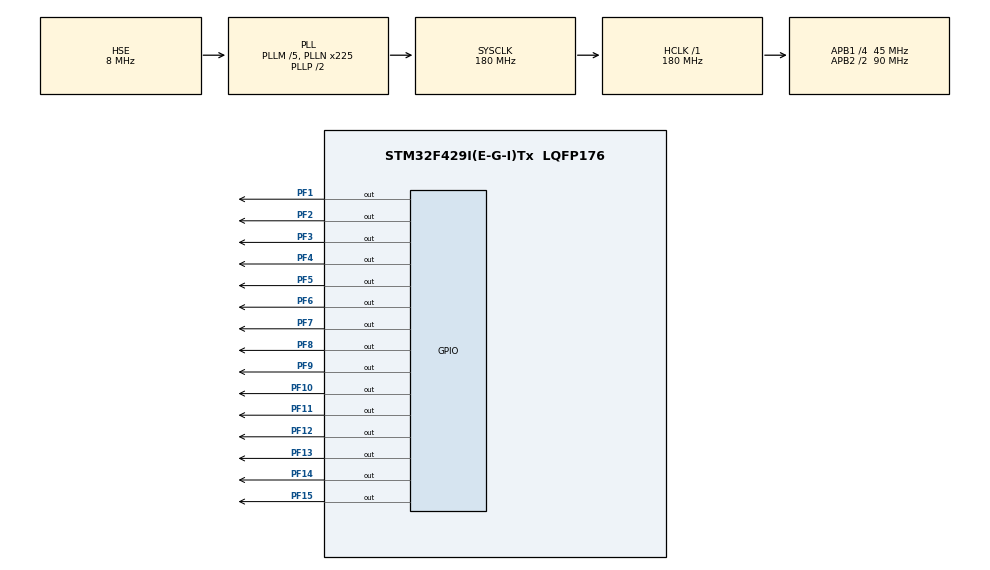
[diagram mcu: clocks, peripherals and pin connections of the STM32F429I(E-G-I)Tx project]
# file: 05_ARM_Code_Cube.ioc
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Mcu.Family=STM32F4
Mcu.Name=STM32F429I(E-G-I)Tx
Mcu.Package=LQFP176
NVIC.PriorityGroup=NVIC_PRIORITYGROUP_4
PF1.GPIO_ModeDefaultOutputPP=GPIO_MODE_OUTPUT_PP
PF1.GPIO_PuPd=GPIO_NOPULL
PF1.GPIO_Speed=GPIO_SPEED_LOW
PF1.Signal=GPIO_Output
PF10.GPIO_ModeDefaultOutputPP=GPIO_MODE_OUTPUT_PP
PF10.GPIO_PuPd=GPIO_NOPULL
PF10.GPIO_Speed=GPIO_SPEED_LOW
PF10.Signal=GPIO_Output
PF11.GPIO_ModeDefaultOutputPP=GPIO_MODE_OUTPUT_PP
PF11.GPIO_PuPd=GPIO_NOPULL
PF11.GPIO_Speed=GPIO_SPEED_LOW
PF11.Signal=GPIO_Output
PF12.GPIO_ModeDefaultOutputPP=GPIO_MODE_OUTPUT_PP
PF12.GPIO_PuPd=GPIO_NOPULL
PF12.GPIO_Speed=GPIO_SPEED_LOW
PF12.Signal=GPIO_Output
PF13.GPIO_ModeDefaultOutputPP=GPIO_MODE_OUTPUT_PP
PF13.GPIO_PuPd=GPIO_NOPULL
PF13.GPIO_Speed=GPIO_SPEED_LOW
PF13.Signal=GPIO_Output
PF14.GPIO_ModeDefaultOutputPP=GPIO_MODE_OUTPUT_PP
PF14.GPIO_PuPd=GPIO_NOPULL
PF14.GPIO_Speed=GPIO_SPEED_LOW
PF14.Signal=GPIO_Output
PF15.GPIO_ModeDefaultOutputPP=GPIO_MODE_OUTPUT_PP
PF15.GPIO_PuPd=GPIO_NOPULL
PF15.GPIO_Speed=GPIO_SPEED_LOW
PF15.Signal=GPIO_Output
PF2.GPIO_ModeDefaultOutputPP=GPIO_MODE_OUTPUT_PP
PF2.GPIO_PuPd=GPIO_NOPULL
PF2.GPIO_Speed=GPIO_SPEED_LOW
PF2.Signal=GPIO_Output
PF3.GPIO_ModeDefaultOutputPP=GPIO_MODE_OUTPUT_PP
PF3.GPIO_PuPd=GPIO_NOPULL
PF3.GPIO_Speed=GPIO_SPEED_LOW
PF3.Signal=GPIO_Output
PF4.GPIO_ModeDefaultOutputPP=GPIO_MODE_OUTPUT_PP
PF4.GPIO_PuPd=GPIO_NOPULL
PF4.GPIO_Speed=GPIO_SPEED_LOW
PF4.Signal=GPIO_Output
PF5.GPIO_ModeDefaultOutputPP=GPIO_MODE_OUTPUT_PP
PF5.GPIO_PuPd=GPIO_NOPULL
PF5.GPIO_Speed=GPIO_SPEED_LOW
PF5.Signal=GPIO_Output
PF6.GPIO_ModeDefaultOutputPP=GPIO_MODE_OUTPUT_PP
PF6.GPIO_PuPd=GPIO_NOPULL
PF6.GPIO_Speed=GPIO_SPEED_LOW
PF6.Signal=GPIO_Output
PF7.GPIO_ModeDefaultOutputPP=GPIO_MODE_OUTPUT_PP
PF7.GPIO_PuPd=GPIO_NOPULL
PF7.GPIO_Speed=GPIO_SPEED_LOW
PF7.Signal=GPIO_Output
PF8.GPIO_ModeDefaultOutputPP=GPIO_MODE_OUTPUT_PP
PF8.GPIO_PuPd=GPIO_NOPULL
PF8.GPIO_Speed=GPIO_SPEED_LOW
PF8.Signal=GPIO_Output
PF9.GPIO_ModeDefaultOutputPP=GPIO_MODE_OUTPUT_PP
PF9.GPIO_PuPd=GPIO_NOPULL
PF9.GPIO_Speed=GPIO_SPEED_LOW
PF9.Signal=GPIO_Output
PH0/OSC_IN.Mode=HSE-External-Oscillator
PH0/OSC_IN.Signal=RCC_OSC_IN
PH1/OSC_OUT.Mode=HSE-External-Oscillator
PH1/OSC_OUT.Signal=RCC_OSC_OUT
ProjectManager.TargetToolchain=EWARM
RCC.48MHZClocksFreq_Value=90000000
RCC.AHBFreq_Value=180000000
RCC.APB1CLKDivider=RCC_HCLK_DIV4
RCC.APB1Freq_Value=45000000
RCC.APB1TimFreq_Value=90000000
RCC.APB2CLKDivider=RCC_HCLK_DIV2
RCC.APB2Freq_Value=90000000
RCC.APB2TimFreq_Value=180000000
RCC.CortexFreq_Value=180000000
RCC.HCLKFreq_Value=180000000
RCC.HSE_VALUE=8000000
RCC.HSI_VALUE=16000000
RCC.LSE_VALUE=32768
RCC.PLLM=5
RCC.PLLN=225
RCC.PLLSourceVirtual=RCC_PLLSOURCE_HSE
RCC.SYSCLKFreq_VALUE=180000000
RCC.SYSCLKSource=RCC_SYSCLKSOURCE_PLLCLK
RCC.VCOOutputFreq_Value=360000000
board=05_ARM_Code_Cube

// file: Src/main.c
/**
  ******************************************************************************
  * File Name          : main.c
  * Description        : Main program body
  ******************************************************************************
  *
  * COPYRIGHT(c) 2015 STMicroelectronics
  *
  * Redistribution and use in source and binary forms, with or without modification,
  * are permitted provided that the following conditions are met:
  *   1. Redistributions of source code must retain the above copyright notice,
  *      this list of conditions and the following disclaimer.
  *   2. Redistributions in binary form must reproduce the above copyright notice,
  *      this list of conditions and the following disclaimer in the documentation
  *      and/or other materials provided with the distribution.
  *   3. Neither the name of STMicroelectronics nor the names of its contributors
  *      may be used to endorse or promote products derived from this software
  *      without specific prior written permission.
  *
  * THIS SOFTWARE IS PROVIDED BY THE COPYRIGHT HOLDERS AND CONTRIBUTORS "AS IS"
  * AND ANY EXPRESS OR IMPLIED WARRANTIES, INCLUDING, BUT NOT LIMITED TO, THE
  * IMPLIED WARRANTIES OF MERCHANTABILITY AND FITNESS FOR A PARTICULAR PURPOSE ARE
  * DISCLAIMED. IN NO EVENT SHALL THE COPYRIGHT HOLDER OR CONTRIBUTORS BE LIABLE
  * FOR ANY DIRECT, INDIRECT, INCIDENTAL, SPECIAL, EXEMPLARY, OR CONSEQUENTIAL
  * DAMAGES (INCLUDING, BUT NOT LIMITED TO, PROCUREMENT OF SUBSTITUTE GOODS OR
  * SERVICES; LOSS OF USE, DATA, OR PROFITS; OR BUSINESS INTERRUPTION) HOWEVER
  * CAUSED AND ON ANY THEORY OF LIABILITY, WHETHER IN CONTRACT, STRICT LIABILITY,
  * OR TORT (INCLUDING NEGLIGENCE OR OTHERWISE) ARISING IN ANY WAY OUT OF THE USE
  * OF THIS SOFTWARE, EVEN IF ADVISED OF THE POSSIBILITY OF SUCH DAMAGE.
  *
  ******************************************************************************
  */
#include "stm32f4xx_hal.h"

/* USER CODE BEGIN PV */
/* Private variables ---------------------------------------------------------*/

/* USER CODE END PV */

void SystemClock_Config(void);
static void MX_GPIO_Init(void);

/* USER CODE BEGIN PFP */
/* Private function prototypes -----------------------------------------------*/

/* USER CODE END PFP */

/* USER CODE BEGIN 0 */

static volatile uint32_t TimingDelay;

void TimingDelay_Decrement(void)
{
  if(TimingDelay != 0x00)
  {
    TimingDelay--;
  }
}

void SysTick_Handler(void)
{
  TimingDelay_Decrement();
}

static volatile uint32_t TimingDelay;

void Delay(uint32_t nTime)
{
  TimingDelay = nTime;
  while(TimingDelay != 0);
}

void delay_s(void)
{
  Delay(5000000);
}
void delay_ms(void)
{
  Delay(5000);
}
void delay_us(void)
{
  Delay(5);
}

void delay_60us(void)
{
  Delay(350);
}
void delay_800ns(void)
{
  Delay(4);
}

void delay_400ns(void)
{
  Delay(2);
}

void delay_200ns(void)
{
  Delay(1);
}

unsigned int k=0x0000;

void G_ON(){

        for(int j=1 ; j < 4 ; j++){
            HAL_GPIO_WritePin(GPIOF, k, GPIO_PIN_RESET);
            delay_400ns();
            HAL_GPIO_WritePin(GPIOF, k, GPIO_PIN_SET);
            delay_800ns();
        }

        HAL_GPIO_WritePin(GPIOF, k, GPIO_PIN_RESET);
        delay_800ns();
        HAL_GPIO_WritePin(GPIOF, k, GPIO_PIN_SET);
        delay_400ns();

        for(int j=1 ; j < 21 ; j++){
            HAL_GPIO_WritePin(GPIOF, k, GPIO_PIN_RESET);
            delay_400ns();
            HAL_GPIO_WritePin(GPIOF, k, GPIO_PIN_SET);
            delay_800ns();
        }
}

void R_ON(){

        for(int j=1 ; j < 12 ; j++){
            HAL_GPIO_WritePin(GPIOF, k, GPIO_PIN_RESET);
            delay_400ns();
            HAL_GPIO_WritePin(GPIOF, k, GPIO_PIN_SET);
            delay_800ns();
        }

        HAL_GPIO_WritePin(GPIOF, k, GPIO_PIN_RESET);
        delay_800ns();
        HAL_GPIO_WritePin(GPIOF, k, GPIO_PIN_SET);
        delay_400ns();

        for(int j=1 ; j < 13 ; j++){
            HAL_GPIO_WritePin(GPIOF, k, GPIO_PIN_RESET);
            delay_400ns();
            HAL_GPIO_WritePin(GPIOF, k, GPIO_PIN_SET);
            delay_800ns();
        }
}

void B_ON(){

        for(int j=1 ; j < 20 ; j++){
            HAL_GPIO_WritePin(GPIOF, k, GPIO_PIN_RESET);
            delay_400ns();
            HAL_GPIO_WritePin(GPIOF, k, GPIO_PIN_SET);
            delay_800ns();
        }

        HAL_GPIO_WritePin(GPIOF, k, GPIO_PIN_RESET);
        delay_800ns();
        HAL_GPIO_WritePin(GPIOF, k, GPIO_PIN_SET);
        delay_400ns();

        for(int j=1 ; j < 5 ; j++){
            HAL_GPIO_WritePin(GPIOF, k, GPIO_PIN_RESET);
            delay_400ns();
            HAL_GPIO_WritePin(GPIOF, k, GPIO_PIN_SET);
            delay_800ns();
        }
}

void OFF(){

        for(int j=1 ; j < 25 ; j++){
            HAL_GPIO_WritePin(GPIOF, 0xffff, GPIO_PIN_RESET);
            delay_400ns();
            HAL_GPIO_WritePin(GPIOF, 0xffff, GPIO_PIN_SET);
            delay_800ns();
        }
}

void PUT(int i){

	if(i==1){
		HAL_GPIO_WritePin(GPIOF, 0xffff, GPIO_PIN_RESET);
                delay_800ns();
                HAL_GPIO_WritePin(GPIOF, 0xffff, GPIO_PIN_SET);
                delay_400ns();
	}

	else if(i==0){
		HAL_GPIO_WritePin(GPIOF, 0xffff, GPIO_PIN_RESET);
                delay_400ns();
                HAL_GPIO_WritePin(GPIOF, 0xffff, GPIO_PIN_SET);
                delay_800ns();
	}

	else if(i==2){
		HAL_GPIO_WritePin(GPIOF, 0xffff, GPIO_PIN_SET);
                delay_60us();
	}
}

void PUT_3(int i){

	if(i==1){
		HAL_GPIO_WritePin(GPIOF, 0x0f00, GPIO_PIN_RESET);
                delay_800ns();
                HAL_GPIO_WritePin(GPIOF, 0x0f00, GPIO_PIN_SET);
                delay_400ns();
	}

	else if(i==0){
		HAL_GPIO_WritePin(GPIOF, 0x0f00, GPIO_PIN_RESET);
                delay_400ns();
                HAL_GPIO_WritePin(GPIOF, 0x0f00, GPIO_PIN_SET);
                delay_800ns();
	}

	else if(i==2){
		HAL_GPIO_WritePin(GPIOF, 0x0f00, GPIO_PIN_SET);
                delay_60us();
	}
}

void PUT_1(int i){

	if(i==1){
		HAL_GPIO_WritePin(GPIOF, 0xf000, GPIO_PIN_RESET);
                delay_800ns();
                HAL_GPIO_WritePin(GPIOF, 0xf000, GPIO_PIN_SET);
                delay_400ns();
	}

	else if(i==0){
		HAL_GPIO_WritePin(GPIOF, 0xf000, GPIO_PIN_RESET);
                delay_400ns();
                HAL_GPIO_WritePin(GPIOF, 0xf000, GPIO_PIN_SET);
                delay_800ns();
	}

	else if(i==2){
		HAL_GPIO_WritePin(GPIOF, 0xf000, GPIO_PIN_SET);
                delay_60us();
	}
}
void PUT_2(int i){

	if(i==1){
		HAL_GPIO_WritePin(GPIOF, 0x00f0, GPIO_PIN_RESET);
                delay_800ns();
                HAL_GPIO_WritePin(GPIOF, 0x00f0, GPIO_PIN_SET);
                delay_400ns();
	}

	else if(i==0){
		HAL_GPIO_WritePin(GPIOF, 0x00f0, GPIO_PIN_RESET);
                delay_400ns();
                HAL_GPIO_WritePin(GPIOF, 0x00f0, GPIO_PIN_SET);
                delay_800ns();
	}

	else if(i==2){
		HAL_GPIO_WritePin(GPIOF, 0x00f0, GPIO_PIN_SET);
                delay_60us();
	}
}

/* USER CODE END 0 */

int main(void)
{

  /* MCU Configuration----------------------------------------------------------*/

  /* Reset of all peripherals, Initializes the Flash interface and the Systick. */
  HAL_Init();

  /* Configure the system clock */
  SystemClock_Config();

  /* Initialize all configured peripherals */
  MX_GPIO_Init();

  /* Infinite loop */
  while (1)
  {

  /* USER CODE BEGIN 3 */

    //  HAL_GPIO_WritePin(GPIOF, 0xffff, GPIO_PIN_RESET);
    //   delay_s();
    //  HAL_GPIO_WritePin(GPIOF, 0xffff, GPIO_PIN_SET);
    // delay_s();

   k=0x0004;
   R_ON();
   k=0x0010;
   B_ON();
   k=0x0040;
   G_ON();
   delay_s();

   OFF();
   delay_ms();
   k=0x0010;
   G_ON();
   k=0x0040;
   R_ON();
   k=0x0002;
   B_ON();
   delay_s();

   OFF();
   delay_ms();
   k=0x0040;
   B_ON();
   k=0x0002;
   G_ON();
   k=0x0008;
   R_ON();
   delay_s();

   OFF();
   delay_ms();
   k=0x0002;
   B_ON();
   k=0x0008;
   G_ON();
   k=0x0020;
   R_ON();
   delay_s();

   OFF();
   delay_ms();
   k=0x0008;
   B_ON();
   k=0x0020;
   G_ON();
   k=0x0080;
   R_ON();
   delay_s();

   OFF();
   delay_s();

  /*
   PUT_1(0);
   PUT_1(0);
   PUT_1(0);
   PUT_1(1);
   PUT_1(0);
   PUT_1(0);
   PUT_1(0);
   PUT_1(0);

   PUT_1(0);
   PUT_1(0);
   PUT_1(0);
   PUT_1(0);
   PUT_1(0);
   PUT_1(0);
   PUT_1(0);
   PUT_1(0);

   PUT_1(0);
   PUT_1(0);
   PUT_1(0);
   PUT_1(0);
   PUT_1(0);
   PUT_1(0);
   PUT_1(0);
   PUT_1(0);

   PUT_2(0);
   PUT_2(0);
   PUT_2(0);
   PUT_2(0);
   PUT_2(0);
   PUT_2(0);
   PUT_2(0);
   PUT_2(0);

   PUT_2(0);
   PUT_2(0);
   PUT_2(0);
   PUT_2(1);
   PUT_2(0);
   PUT_2(0);
   PUT_2(0);
   PUT_2(0);

   PUT_2(0);
   PUT_2(0);
   PUT_2(0);
   PUT_2(0);
   PUT_2(0);
   PUT_2(0);
   PUT_2(0);
   PUT_2(0);

   delay_s();

   PUT_1(0);
   PUT_1(0);
   PUT_1(0);
   PUT_1(0);
   PUT_1(0);
   PUT_1(0);
   PUT_1(0);
   PUT_1(0);

   PUT_1(0);
   PUT_1(0);
   PUT_1(0);
   PUT_1(1);
   PUT_1(0);
   PUT_1(0);
   PUT_1(0);
   PUT_1(0);

   PUT_1(0);
   PUT_1(0);
   PUT_1(0);
   PUT_1(0);
   PUT_1(0);
   PUT_1(0);
   PUT_1(0);
   PUT_1(0);

   PUT_2(0);
   PUT_2(0);
   PUT_2(0);
   PUT_2(0);
   PUT_2(0);
   PUT_2(0);
   PUT_2(0);
   PUT_2(0);

   PUT_2(0);
   PUT_2(0);
   PUT_2(0);
   PUT_2(0);
   PUT_2(0);
   PUT_2(0);
   PUT_2(0);
   PUT_2(0);

   PUT_2(0);
   PUT_2(0);
   PUT_2(0);
   PUT_2(1);
   PUT_2(0);
   PUT_2(0);
   PUT_2(0);
   PUT_2(0);

   delay_s();

   PUT_1(0);
   PUT_1(0);
   PUT_1(0);
   PUT_1(0);
   PUT_1(0);
   PUT_1(0);
   PUT_1(0);
   PUT_1(0);

   PUT_1(0);
   PUT_1(0);
   PUT_1(0);
   PUT_1(0);
   PUT_1(0);
   PUT_1(0);
   PUT_1(0);
   PUT_1(0);

   PUT_1(0);
   PUT_1(0);
   PUT_1(0);
   PUT_1(1);
   PUT_1(0);
   PUT_1(0);
   PUT_1(0);
   PUT_1(0);

   PUT_2(0);
   PUT_2(0);
   PUT_2(0);
   PUT_2(1);
   PUT_2(0);
   PUT_2(0);
   PUT_2(0);
   PUT_2(0);

   PUT_2(0);
   PUT_2(0);
   PUT_2(0);
   PUT_2(0);
   PUT_2(0);
   PUT_2(0);
   PUT_2(0);
   PUT_2(0);

   PUT_2(0);
   PUT_2(0);
   PUT_2(0);
   PUT_2(0);
   PUT_2(0);
   PUT_2(0);
   PUT_2(0);
   PUT_2(0);

   delay_s();

   PUT_1(0);
   PUT_1(0);
   PUT_1(0);
   PUT_1(0);
   PUT_1(0);
   PUT_1(0);
   PUT_1(0);
   PUT_1(0);

   PUT_1(0);
   PUT_1(0);
   PUT_1(0);
   PUT_1(0);
   PUT_1(0);
   PUT_1(0);
   PUT_1(0);
   PUT_1(0);

   PUT_1(0);
   PUT_1(0);
   PUT_1(0);
   PUT_1(0);
   PUT_1(0);
   PUT_1(0);
   PUT_1(0);
   PUT_1(0);

   PUT_2(0);
   PUT_2(0);
   PUT_2(0);
   PUT_2(0);
   PUT_2(0);
   PUT_2(0);
   PUT_2(0);
   PUT_2(0);

   PUT_2(0);
   PUT_2(0);
   PUT_2(0);
   PUT_2(0);
   PUT_2(0);
   PUT_2(0);
   PUT_2(0);
   PUT_2(0);

   PUT_2(0);
   PUT_2(0);
   PUT_2(0);
   PUT_2(0);
   PUT_2(0);
   PUT_2(0);
   PUT_2(0);
   PUT_2(0);

   delay_s();
  */
  /*
  PUT(0);
  PUT(0);
  PUT(0);
  PUT(0);
  PUT_1(1);
  PUT_2(0);
  PUT(0);
  PUT(0);
  PUT(0);

  PUT(0);
  PUT(0);
  PUT(0);
  PUT(0);
  PUT_1(0);
  PUT_2(1);
  PUT(0);
  PUT(0);
  PUT(0);

  PUT(0);
  PUT(0);
  PUT(0);
  PUT(0);
  PUT(0);
  PUT(0);
  PUT(0);
  PUT(0);
  delay_s();

  PUT(0);
  PUT(0);
  PUT(0);
  PUT(0);
  PUT_1(0);
  PUT_2(1);
  PUT(0);
  PUT(0);
  PUT(0);

  PUT(0);
  PUT(0);
  PUT(0);
  PUT(0);
  PUT_1(1);
  PUT_2(0);
  PUT(0);
  PUT(0);
  PUT(0);

  PUT(0);
  PUT(0);
  PUT(0);
  PUT(0);
  PUT(0);
  PUT(0);
  PUT(0);
  PUT(0);
  delay_s();
  */
  /*
  PUT(0);
  PUT(0);
  PUT(0);
  PUT(0);
  PUT(0);
  PUT(0);
  PUT(0);
  PUT(0);

  PUT(1);
  PUT(0);
  PUT(0);
  PUT(0);
  PUT(0);
  PUT(0);
  PUT(0);
  PUT(0);

  PUT(0);
  PUT(0);
  PUT(0);
  PUT(0);
  PUT(0);
  PUT(0);
  PUT(0);
  PUT(0);
  delay_s();

  PUT(0);
  PUT(0);
  PUT(0);
  PUT(0);
  PUT(0);
  PUT(0);
  PUT(0);
  PUT(0);

  PUT(1);
  PUT(0);
  PUT(0);
  PUT(0);
  PUT(0);
  PUT(0);
  PUT(0);
  PUT(0);

  PUT(1);
  PUT(0);
  PUT(0);
  PUT(0);
  PUT(0);
  PUT(0);
  PUT(0);
  PUT(0);
  delay_s();

  PUT(0);
  PUT(0);
  PUT(0);
  PUT(0);
  PUT(0);
  PUT(0);
  PUT(0);
  PUT(0);

  PUT(0);
  PUT(0);
  PUT(0);
  PUT(0);
  PUT(0);
  PUT(0);
  PUT(0);
  PUT(0);

  PUT(1);
  PUT(0);
  PUT(0);
  PUT(0);
  PUT(0);
  PUT(0);
  PUT(0);
  PUT(0);
  delay_s();

  PUT(1);
  PUT(0);
  PUT(0);
  PUT(0);
  PUT(0);
  PUT(0);
  PUT(0);
  PUT(0);

  PUT(0);
  PUT(0);
  PUT(0);
  PUT(0);
  PUT(0);
  PUT(0);
  PUT(0);
  PUT(0);

  PUT(1);
  PUT(0);
  PUT(0);
  PUT(0);
  PUT(0);
  PUT(0);
  PUT(0);
  PUT(0);
  delay_s();
*/

  /*
  HAL_GPIO_WritePin(GPIOF, 0xfffc, GPIO_PIN_SET);
  delay_s();

  HAL_GPIO_WritePin(GPIOF, 0xfffc, GPIO_PIN_RESET);
  delay_s();
  */

  }
  /* USER CODE END 3 */

}

/** System Clock Configuration
*/
void SystemClock_Config(void)
{

  RCC_OscInitTypeDef RCC_OscInitStruct;
  RCC_ClkInitTypeDef RCC_ClkInitStruct;

  __PWR_CLK_ENABLE();

  __HAL_PWR_VOLTAGESCALING_CONFIG(PWR_REGULATOR_VOLTAGE_SCALE1);

  RCC_OscInitStruct.OscillatorType = RCC_OSCILLATORTYPE_HSE;
  RCC_OscInitStruct.HSEState = RCC_HSE_ON;
  RCC_OscInitStruct.PLL.PLLState = RCC_PLL_ON;
  RCC_OscInitStruct.PLL.PLLSource = RCC_PLLSOURCE_HSE;
  RCC_OscInitStruct.PLL.PLLM = 5;
  RCC_OscInitStruct.PLL.PLLN = 225;
  RCC_OscInitStruct.PLL.PLLP = RCC_PLLP_DIV2;
  RCC_OscInitStruct.PLL.PLLQ = 4;
  HAL_RCC_OscConfig(&RCC_OscInitStruct);

  HAL_PWREx_ActivateOverDrive();

  RCC_ClkInitStruct.ClockType = RCC_CLOCKTYPE_SYSCLK|RCC_CLOCKTYPE_PCLK1
                              |RCC_CLOCKTYPE_PCLK2;
  RCC_ClkInitStruct.SYSCLKSource = RCC_SYSCLKSOURCE_PLLCLK;
  RCC_ClkInitStruct.AHBCLKDivider = RCC_SYSCLK_DIV1;
  RCC_ClkInitStruct.APB1CLKDivider = RCC_HCLK_DIV4;
  RCC_ClkInitStruct.APB2CLKDivider = RCC_HCLK_DIV2;
  HAL_RCC_ClockConfig(&RCC_ClkInitStruct, FLASH_LATENCY_5);

  HAL_SYSTICK_Config(HAL_RCC_GetHCLKFreq()/5000000);

  HAL_SYSTICK_CLKSourceConfig(SYSTICK_CLKSOURCE_HCLK);

}

/** Configure pins as
        * Analog
        * Input
        * Output
        * EVENT_OUT
        * EXTI
*/
void MX_GPIO_Init(void)
{

  GPIO_InitTypeDef GPIO_InitStruct;

  /* GPIO Ports Clock Enable */
  __GPIOF_CLK_ENABLE();
  __GPIOH_CLK_ENABLE();

  /*Configure GPIO pins : PF1 PF2 PF3 PF4
                           PF5 PF6 PF7 PF8
                           PF9 PF10 PF11 PF12
                           PF13 PF14 PF15 */
  GPIO_InitStruct.Pin = GPIO_PIN_1|GPIO_PIN_2|GPIO_PIN_3|GPIO_PIN_4
                          |GPIO_PIN_5|GPIO_PIN_6|GPIO_PIN_7|GPIO_PIN_8
                          |GPIO_PIN_9|GPIO_PIN_10|GPIO_PIN_11|GPIO_PIN_12
                          |GPIO_PIN_13|GPIO_PIN_14|GPIO_PIN_15;
  GPIO_InitStruct.Mode = GPIO_MODE_OUTPUT_PP;
  GPIO_InitStruct.Pull = GPIO_NOPULL;
  GPIO_InitStruct.Speed = GPIO_SPEED_LOW;
  HAL_GPIO_Init(GPIOF, &GPIO_InitStruct);

}

/************************ (C) COPYRIGHT STMicroelectronics *****END OF FILE****/
